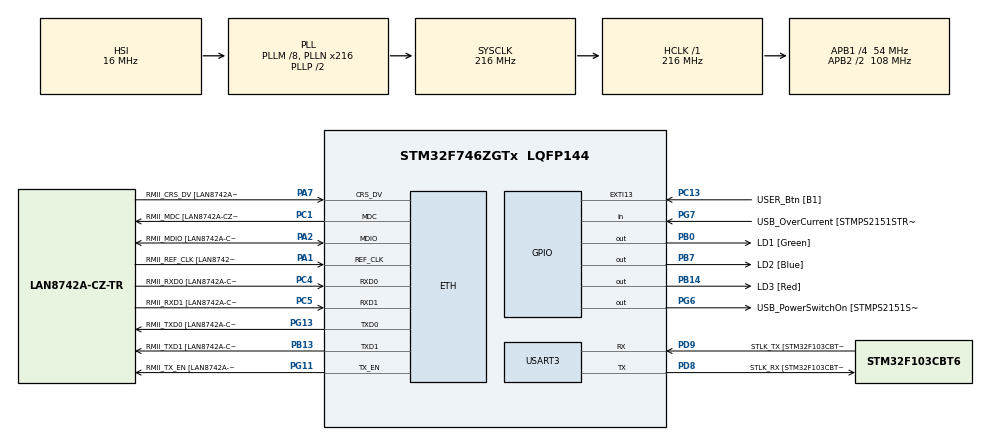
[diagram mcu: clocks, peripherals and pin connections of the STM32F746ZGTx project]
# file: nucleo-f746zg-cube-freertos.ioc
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Cesanta.I-CUBE-Mongoose.7.21.0.MG_ARCH=MG_ARCH_CMSIS_RTOS2
Cesanta.I-CUBE-Mongoose.7.21.0.MG_ENABLE_CUSTOM_MILLIS=false
Cesanta.I-CUBE-Mongoose.7.21.0.MG_ENABLE_MBEDTLS=false
Cesanta.I-CUBE-Mongoose.7.21.0.NetworkOoLibraryJjMongoose=true
ETH.MediaInterface=HAL_ETH_RMII_MODE
ETH.RxBuffLen=0
FREERTOS.Tasks01=Blinker,24,128,blinker,Default,NULL,Dynamic,NULL,NULL;Server,24,2048,server,Default,NULL,Dynamic,NULL,NULL
FREERTOS.configTOTAL_HEAP_SIZE=65536
FREERTOS.configUSE_NEWLIB_REENTRANT=1
Mcu.Family=STM32F7
Mcu.Name=STM32F746ZGTx
Mcu.Package=LQFP144
NVIC.ETH_IRQn=true\:5\:0\:false\:false\:false\:true\:true\:true\:true
NVIC.PriorityGroup=NVIC_PRIORITYGROUP_4
NVIC.TIM6_DAC_IRQn=true\:15\:0\:false\:false\:true\:false\:false\:true\:true
NVIC.TimeBase=TIM6_DAC_IRQn
NVIC.TimeBaseIP=TIM6
PA1.GPIO_Label=RMII_REF_CLK [LAN8742A-CZ-TR_REFCLK0]
PA1.Mode=RMII
PA1.Signal=ETH_REF_CLK
PA10.GPIO_Label=USB_ID
PA10.Signal=USB_OTG_FS_ID
PA11.GPIO_Label=USB_DM
PA11.Signal=USB_OTG_FS_DM
PA12.GPIO_Label=USB_DP
PA12.Signal=USB_OTG_FS_DP
PA13.GPIO_Label=TMS
PA13.Signal=SYS_JTMS-SWDIO
PA14.GPIO_Label=TCK
PA14.Signal=SYS_JTCK-SWCLK
PA2.GPIO_Label=RMII_MDIO [LAN8742A-CZ-TR_MDIO]
PA2.Mode=RMII
PA2.Signal=ETH_MDIO
PA7.GPIO_Label=RMII_CRS_DV [LAN8742A-CZ-TR_CRS_DV]
PA7.Mode=RMII
PA7.Signal=ETH_CRS_DV
PA8.GPIO_Label=USB_SOF [TP1]
PA8.Signal=USB_OTG_FS_SOF
PA9.GPIO_Label=USB_VBUS
PA9.Signal=USB_OTG_FS_VBUS
PB0.GPIO_Label=LD1 [Green]
PB0.Signal=GPIO_Output
PB13.GPIO_Label=RMII_TXD1 [LAN8742A-CZ-TR_TXD1]
PB13.Mode=RMII
PB13.Signal=ETH_TXD1
PB14.GPIO_Label=LD3 [Red]
PB14.Signal=GPIO_Output
PB3.GPIO_Label=SW0
PB3.Signal=SYS_JTDO-SWO
PB7.GPIO_Label=LD2 [Blue]
PB7.Signal=GPIO_Output
PC1.GPIO_Label=RMII_MDC [LAN8742A-CZ-TR_MDC]
PC1.Mode=RMII
PC1.Signal=ETH_MDC
PC13.GPIO_Label=USER_Btn [B1]
PC13.Signal=GPXTI13
PC14/OSC32_IN.Signal=RCC_OSC32_IN
PC15/OSC32_OUT.Signal=RCC_OSC32_OUT
PC4.GPIO_Label=RMII_RXD0 [LAN8742A-CZ-TR_RXD0]
PC4.Mode=RMII
PC4.Signal=ETH_RXD0
PC5.GPIO_Label=RMII_RXD1 [LAN8742A-CZ-TR_RXD1]
PC5.Mode=RMII
PC5.Signal=ETH_RXD1
PD8.GPIO_Label=STLK_RX [STM32F103CBT6_PA3]
PD8.Mode=Asynchronous
PD8.Signal=USART3_TX
PD9.GPIO_Label=STLK_TX [STM32F103CBT6_PA2]
PD9.Mode=Asynchronous
PD9.Signal=USART3_RX
PG11.GPIO_Label=RMII_TX_EN [LAN8742A-CZ-TR_TXEN]
PG11.Mode=RMII
PG11.Signal=ETH_TX_EN
PG13.GPIO_Label=RMII_TXD0 [LAN8742A-CZ-TR_TXD0]
PG13.Mode=RMII
PG13.Signal=ETH_TXD0
PG6.GPIO_Label=USB_PowerSwitchOn [STMPS2151STR_EN]
PG6.Signal=GPIO_Output
PG7.GPIO_Label=USB_OverCurrent [STMPS2151STR_FAULT]
PG7.Signal=GPIO_Input
PH0/OSC_IN.GPIO_Label=MCO [STM32F103CBT6_PA8]
PH0/OSC_IN.Signal=RCC_OSC_IN
PH1/OSC_OUT.Signal=RCC_OSC_OUT
ProjectManager.HeapSize=0x200
ProjectManager.StackSize=0x400
ProjectManager.TargetToolchain=STM32CubeIDE
RCC.48MHZClocksFreq_Value=24000000
RCC.AHBFreq_Value=216000000
RCC.APB1CLKDivider=RCC_HCLK_DIV4
RCC.APB1Freq_Value=54000000
RCC.APB1TimFreq_Value=108000000
RCC.APB2CLKDivider=RCC_HCLK_DIV2
RCC.APB2Freq_Value=108000000
RCC.APB2TimFreq_Value=216000000
RCC.CortexFreq_Value=216000000
RCC.HCLKFreq_Value=216000000
RCC.HSE_VALUE=8000000
RCC.HSI_VALUE=16000000
RCC.LSE_VALUE=32768
RCC.PLLM=8
RCC.PLLMUL=RCC_PLL_MUL9
RCC.PLLN=216
RCC.PLLQ=9
RCC.PRESCALERUSB=RCC_USBCLKSOURCE_PLL_DIV1_5
RCC.SYSCLKFreq_VALUE=216000000
RCC.SYSCLKSource=RCC_SYSCLKSOURCE_PLLCLK
RCC.SYSCLKSourceVirtual=RCC_SYSCLKSOURCE_PLLCLK
RCC.USBFreq_Value=48000000
RCC.VCOOutputFreq_Value=432000000
USART3.VirtualMode-Asynchronous=VM_ASYNC
VP_Cesanta.I-CUBE-Mongoose_VS_NetworkOoLibraryJjMongoose_7.21.0_7.21.0.Mode=NetworkOoLibraryJjMongoose
VP_FREERTOS_VS_CMSIS_V2.Mode=CMSIS_V2
VP_RNG_VS_RNG.Mode=RNG_Activate
VP_SYS_VS_tim6.Mode=TIM6
board=NUCLEO-F746ZG

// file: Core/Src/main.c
/* USER CODE BEGIN Header */
/**
  ******************************************************************************
  * @file           : main.c
  * @brief          : Main program body
  ******************************************************************************
  * @attention
  *
  * Copyright (c) 2023 STMicroelectronics.
  * All rights reserved.
  *
  * This software is licensed under terms that can be found in the LICENSE file
  * in the root directory of this software component.
  * If no LICENSE file comes with this software, it is provided AS-IS.
  *
  ******************************************************************************
  */
/* USER CODE END Header */
#include "main.h"
#include "string.h"
#include "cmsis_os.h"

/* USER CODE BEGIN Includes */
#include "hal.h"
#include "mongoose.h"
#include "net.h"

/* USER CODE END Includes */

/* USER CODE BEGIN PD */
#define BLINK_PERIOD_MS 1000  // LED blinking period in millis

/* USER CODE END PD */

#if defined ( __ICCARM__ ) /*!< IAR Compiler */
#pragma location=0x2004c000
ETH_DMADescTypeDef  DMARxDscrTab[ETH_RX_DESC_CNT]; /* Ethernet Rx DMA Descriptors */
#pragma location=0x2004c0a0
ETH_DMADescTypeDef  DMATxDscrTab[ETH_TX_DESC_CNT]; /* Ethernet Tx DMA Descriptors */

#elif defined ( __CC_ARM )  /* MDK ARM Compiler */

__attribute__((at(0x2004c000))) ETH_DMADescTypeDef  DMARxDscrTab[ETH_RX_DESC_CNT]; /* Ethernet Rx DMA Descriptors */
__attribute__((at(0x2004c0a0))) ETH_DMADescTypeDef  DMATxDscrTab[ETH_TX_DESC_CNT]; /* Ethernet Tx DMA Descriptors */

#elif defined ( __GNUC__ ) /* GNU Compiler */
ETH_DMADescTypeDef DMARxDscrTab[ETH_RX_DESC_CNT] __attribute__((section(".RxDecripSection"))); /* Ethernet Rx DMA Descriptors */
ETH_DMADescTypeDef DMATxDscrTab[ETH_TX_DESC_CNT] __attribute__((section(".TxDecripSection")));   /* Ethernet Tx DMA Descriptors */

#endif

ETH_TxPacketConfig TxConfig;

ETH_HandleTypeDef heth;

RNG_HandleTypeDef hrng;

UART_HandleTypeDef huart3;

/* Definitions for Blinker */
osThreadId_t BlinkerHandle;
const osThreadAttr_t Blinker_attributes = {
  .name = "Blinker",
  .stack_size = 128 * 4,
  .priority = (osPriority_t) osPriorityNormal,
};
/* Definitions for Server */
osThreadId_t ServerHandle;
const osThreadAttr_t Server_attributes = {
  .name = "Server",
  .stack_size = 2048 * 4,
  .priority = (osPriority_t) osPriorityNormal,
};

void SystemClock_Config(void);
static void MX_GPIO_Init(void);
static void MX_ETH_Init(void);
static void MX_RNG_Init(void);
static void MX_USART3_UART_Init(void);
void blinker(void *argument);
void server(void *argument);

/* USER CODE BEGIN 0 */
void mg_random(void *buf, size_t len) {  // Use on-board RNG
  extern RNG_HandleTypeDef hrng;
  for (size_t n = 0; n < len; n += sizeof(uint32_t)) {
    uint32_t r;
    HAL_RNG_GenerateRandomNumber(&hrng, &r);
    memcpy((char *) buf + n, &r, n + sizeof(r) > len ? len - n : sizeof(r));
  }
}

static void timer_fn(void *arg) {
  struct mg_tcpip_if *ifp = arg;                  // And show
  const char *names[] = {"down", "up", "req", "ready"};  // network stats
  MG_INFO(("Ethernet: %s, IP: %M, rx:%u, tx:%u, dr:%u, er:%u",
           names[ifp->state], mg_print_ip4, &ifp->ip, ifp->nrecv, ifp->nsent,
           ifp->ndrop, ifp->nerr));
}

/* USER CODE END 0 */

int main(void)
{

  /* MCU Configuration--------------------------------------------------------*/

  /* Reset of all peripherals, Initializes the Flash interface and the Systick. */
  HAL_Init();

  /* Configure the system clock */
  SystemClock_Config();

  /* Initialize all configured peripherals */
  MX_GPIO_Init();
  MX_ETH_Init();
  MX_RNG_Init();
  MX_USART3_UART_Init();

  /* Init scheduler */
  osKernelInitialize();

  /* Create the thread(s) */
  /* creation of Blinker */
  BlinkerHandle = osThreadNew(blinker, NULL, &Blinker_attributes);

  /* creation of Server */
  ServerHandle = osThreadNew(server, NULL, &Server_attributes);

  /* Start scheduler */
  osKernelStart();

  /* We should never get here as control is now taken by the scheduler */
  /* Infinite loop */
  while (1)
  {

  }
}

void SystemClock_Config(void)
{
  RCC_OscInitTypeDef RCC_OscInitStruct = {0};
  RCC_ClkInitTypeDef RCC_ClkInitStruct = {0};

  /** Configure the main internal regulator output voltage
  */
  __HAL_RCC_PWR_CLK_ENABLE();
  __HAL_PWR_VOLTAGESCALING_CONFIG(PWR_REGULATOR_VOLTAGE_SCALE1);

  /** Initializes the RCC Oscillators according to the specified parameters
  * in the RCC_OscInitTypeDef structure.
  */
  RCC_OscInitStruct.OscillatorType = RCC_OSCILLATORTYPE_HSI;
  RCC_OscInitStruct.HSIState = RCC_HSI_ON;
  RCC_OscInitStruct.HSICalibrationValue = RCC_HSICALIBRATION_DEFAULT;
  RCC_OscInitStruct.PLL.PLLState = RCC_PLL_ON;
  RCC_OscInitStruct.PLL.PLLSource = RCC_PLLSOURCE_HSI;
  RCC_OscInitStruct.PLL.PLLM = 8;
  RCC_OscInitStruct.PLL.PLLN = 216;
  RCC_OscInitStruct.PLL.PLLP = RCC_PLLP_DIV2;
  RCC_OscInitStruct.PLL.PLLQ = 9;
  if (HAL_RCC_OscConfig(&RCC_OscInitStruct) != HAL_OK)
  {
    Error_Handler();
  }

  /** Activate the Over-Drive mode
  */
  if (HAL_PWREx_EnableOverDrive() != HAL_OK)
  {
    Error_Handler();
  }

  /** Initializes the CPU, AHB and APB buses clocks
  */
  RCC_ClkInitStruct.ClockType = RCC_CLOCKTYPE_HCLK|RCC_CLOCKTYPE_SYSCLK
                              |RCC_CLOCKTYPE_PCLK1|RCC_CLOCKTYPE_PCLK2;
  RCC_ClkInitStruct.SYSCLKSource = RCC_SYSCLKSOURCE_PLLCLK;
  RCC_ClkInitStruct.AHBCLKDivider = RCC_SYSCLK_DIV1;
  RCC_ClkInitStruct.APB1CLKDivider = RCC_HCLK_DIV4;
  RCC_ClkInitStruct.APB2CLKDivider = RCC_HCLK_DIV2;

  if (HAL_RCC_ClockConfig(&RCC_ClkInitStruct, FLASH_LATENCY_7) != HAL_OK)
  {
    Error_Handler();
  }
}

static void MX_ETH_Init(void)
{

   static uint8_t MACAddr[6];

  heth.Instance = ETH;
  MACAddr[0] = 0x00;
  MACAddr[1] = 0x80;
  MACAddr[2] = 0xE1;
  MACAddr[3] = 0x00;
  MACAddr[4] = 0x00;
  MACAddr[5] = 0x00;
  heth.Init.MACAddr = &MACAddr[0];
  heth.Init.MediaInterface = HAL_ETH_RMII_MODE;
  heth.Init.TxDesc = DMATxDscrTab;
  heth.Init.RxDesc = DMARxDscrTab;
  heth.Init.RxBuffLen = 0;

  if (HAL_ETH_Init(&heth) != HAL_OK)
  {
    Error_Handler();
  }

  memset(&TxConfig, 0 , sizeof(ETH_TxPacketConfig));
  TxConfig.Attributes = ETH_TX_PACKETS_FEATURES_CSUM | ETH_TX_PACKETS_FEATURES_CRCPAD;
  TxConfig.ChecksumCtrl = ETH_CHECKSUM_IPHDR_PAYLOAD_INSERT_PHDR_CALC;
  TxConfig.CRCPadCtrl = ETH_CRC_PAD_INSERT;

}

static void MX_RNG_Init(void)
{

  hrng.Instance = RNG;
  if (HAL_RNG_Init(&hrng) != HAL_OK)
  {
    Error_Handler();
  }

}

static void MX_USART3_UART_Init(void)
{

  huart3.Instance = USART3;
  huart3.Init.BaudRate = 115200;
  huart3.Init.WordLength = UART_WORDLENGTH_8B;
  huart3.Init.StopBits = UART_STOPBITS_1;
  huart3.Init.Parity = UART_PARITY_NONE;
  huart3.Init.Mode = UART_MODE_TX_RX;
  huart3.Init.HwFlowCtl = UART_HWCONTROL_NONE;
  huart3.Init.OverSampling = UART_OVERSAMPLING_16;
  huart3.Init.OneBitSampling = UART_ONE_BIT_SAMPLE_DISABLE;
  huart3.AdvancedInit.AdvFeatureInit = UART_ADVFEATURE_NO_INIT;
  if (HAL_UART_Init(&huart3) != HAL_OK)
  {
    Error_Handler();
  }

}

static void MX_GPIO_Init(void)
{
  GPIO_InitTypeDef GPIO_InitStruct = {0};

  /* GPIO Ports Clock Enable */
  __HAL_RCC_GPIOC_CLK_ENABLE();
  __HAL_RCC_GPIOH_CLK_ENABLE();
  __HAL_RCC_GPIOA_CLK_ENABLE();
  __HAL_RCC_GPIOB_CLK_ENABLE();
  __HAL_RCC_GPIOD_CLK_ENABLE();
  __HAL_RCC_GPIOG_CLK_ENABLE();

  /*Configure GPIO pin Output Level */
  HAL_GPIO_WritePin(GPIOB, LD1_Pin|LD3_Pin|LD2_Pin, GPIO_PIN_RESET);

  /*Configure GPIO pin Output Level */
  HAL_GPIO_WritePin(USB_PowerSwitchOn_GPIO_Port, USB_PowerSwitchOn_Pin, GPIO_PIN_RESET);

  /*Configure GPIO pin : USER_Btn_Pin */
  GPIO_InitStruct.Pin = USER_Btn_Pin;
  GPIO_InitStruct.Mode = GPIO_MODE_IT_RISING;
  GPIO_InitStruct.Pull = GPIO_NOPULL;
  HAL_GPIO_Init(USER_Btn_GPIO_Port, &GPIO_InitStruct);

  /*Configure GPIO pins : LD1_Pin LD3_Pin LD2_Pin */
  GPIO_InitStruct.Pin = LD1_Pin|LD3_Pin|LD2_Pin;
  GPIO_InitStruct.Mode = GPIO_MODE_OUTPUT_PP;
  GPIO_InitStruct.Pull = GPIO_NOPULL;
  GPIO_InitStruct.Speed = GPIO_SPEED_FREQ_LOW;
  HAL_GPIO_Init(GPIOB, &GPIO_InitStruct);

  /*Configure GPIO pin : USB_PowerSwitchOn_Pin */
  GPIO_InitStruct.Pin = USB_PowerSwitchOn_Pin;
  GPIO_InitStruct.Mode = GPIO_MODE_OUTPUT_PP;
  GPIO_InitStruct.Pull = GPIO_NOPULL;
  GPIO_InitStruct.Speed = GPIO_SPEED_FREQ_LOW;
  HAL_GPIO_Init(USB_PowerSwitchOn_GPIO_Port, &GPIO_InitStruct);

  /*Configure GPIO pin : USB_OverCurrent_Pin */
  GPIO_InitStruct.Pin = USB_OverCurrent_Pin;
  GPIO_InitStruct.Mode = GPIO_MODE_INPUT;
  GPIO_InitStruct.Pull = GPIO_NOPULL;
  HAL_GPIO_Init(USB_OverCurrent_GPIO_Port, &GPIO_InitStruct);

  /*Configure GPIO pins : USB_SOF_Pin USB_ID_Pin USB_DM_Pin USB_DP_Pin */
  GPIO_InitStruct.Pin = USB_SOF_Pin|USB_ID_Pin|USB_DM_Pin|USB_DP_Pin;
  GPIO_InitStruct.Mode = GPIO_MODE_AF_PP;
  GPIO_InitStruct.Pull = GPIO_NOPULL;
  GPIO_InitStruct.Speed = GPIO_SPEED_FREQ_VERY_HIGH;
  GPIO_InitStruct.Alternate = GPIO_AF10_OTG_FS;
  HAL_GPIO_Init(GPIOA, &GPIO_InitStruct);

  /*Configure GPIO pin : USB_VBUS_Pin */
  GPIO_InitStruct.Pin = USB_VBUS_Pin;
  GPIO_InitStruct.Mode = GPIO_MODE_INPUT;
  GPIO_InitStruct.Pull = GPIO_NOPULL;
  HAL_GPIO_Init(USB_VBUS_GPIO_Port, &GPIO_InitStruct);

}

void blinker(void *argument)
{
  /* USER CODE BEGIN 5 */
	for (;;) {
	    HAL_GPIO_TogglePin(GPIOB, GPIO_PIN_7);   // Blink On-board blue LED
	    osDelay((osKernelGetTickFreq() * BLINK_PERIOD_MS) / 1000U);
	}
	(void) argument;

  /* USER CODE END 5 */
}

void server(void *argument)
{
  /* USER CODE BEGIN server */
	struct mg_mgr mgr;        // Initialise Mongoose event manager
	mg_mgr_init(&mgr);        // and attach it to the interface
	mg_log_set(MG_LL_DEBUG);  // Set log level

	// Initialise Mongoose network stack
	struct mg_tcpip_driver_stm32f_data driver_data = {.mdc_cr = 4};
	struct mg_tcpip_if mif = {.mac = GENERATE_LOCALLY_ADMINISTERED_MAC(),
                            // Uncomment below for static configuration:
                            // .ip = mg_htonl(MG_U32(192, 168, 0, 223)),
                            // .mask = mg_htonl(MG_U32(255, 255, 255, 0)),
                            // .gw = mg_htonl(MG_U32(192, 168, 0, 1)),
	                          .driver = &mg_tcpip_driver_stm32f,
	                          .driver_data = &driver_data};
	mg_tcpip_init(&mgr, &mif);
	mg_timer_add(&mgr, BLINK_PERIOD_MS, MG_TIMER_REPEAT, timer_fn, &mif);

	MG_INFO(("MAC: %M. Waiting for IP...", mg_print_mac, mif.mac));
	while (mif.state != MG_TCPIP_STATE_READY) {
	    mg_mgr_poll(&mgr, 0);
	}

	MG_INFO(("Initialising application..."));
  web_init(&mgr);

	MG_INFO(("Starting event loop"));
	for (;;) mg_mgr_poll(&mgr, 1);  // Infinite event loop
	(void) argument;

  /* USER CODE END server */
}

void HAL_TIM_PeriodElapsedCallback(TIM_HandleTypeDef *htim)
{
  if (htim->Instance == TIM6) {
    HAL_IncTick();
  }
}

void Error_Handler(void)
{
  __disable_irq();
  while (1)
  {
  }
}
